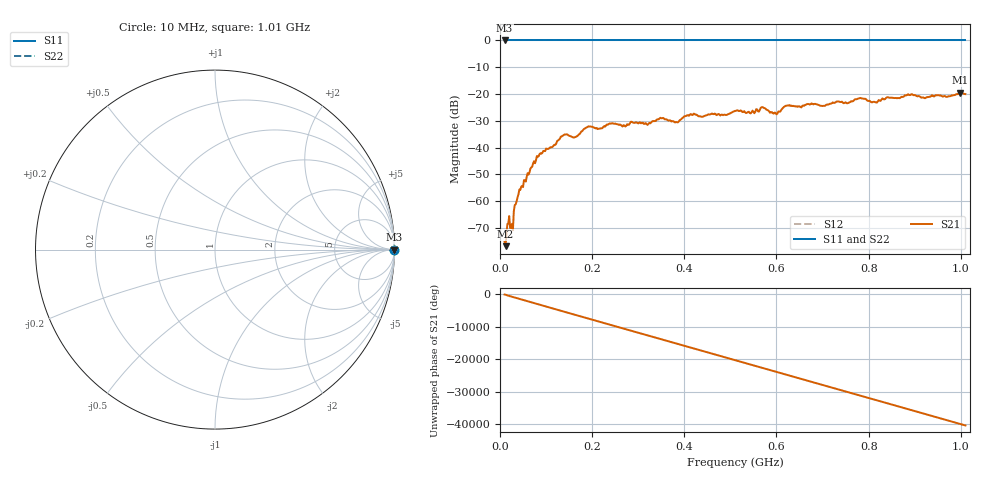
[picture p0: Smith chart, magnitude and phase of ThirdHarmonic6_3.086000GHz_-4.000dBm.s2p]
! 8/17/2025 9:03:41 AM
! C:\ANRITSUVNA\TEMP\TEMP.S2P
! CHANNEL.1
! TR.MEASUREMENT
! RAW.DATA
! RF.CORRECTION.OFF
! AVERAGING.OFF
! IF.BANDWIDTH: 5KHZ
! SWEEPTYPE:  FREQ.SWEEP(Linear)
! Reference Plane Port Info
! PORT:  PORT1  PORT2
! DISTANCE:  0  m  0  m
! TIME:  0  s  0  s
! PHASE.OFFSET:  0  deg.  0  deg.
! LOSS:  0  dB  0  dB
! REF.LOSS:  0  dB  0  dB
! REF.FREQ:  0  Hz  0  Hz
! Power Info
! POWER:  -20  dBm  -20  dBm
! EFF.POWER:  -20  dBm  -20  dBm
! SOURCE.ATTEN:  0  dB  0  dB
! TEST.ATTEN:  0  dB  0  dB
# GHZ S RI R 50.0
! FREQ.GHZ  S11RE  S11IM  S21RE  S21IM  S12RE  S12IM  S22RE  S22IM
!; PortSelection: Port_12
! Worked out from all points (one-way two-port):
!   501 points, 10 MHz to 1.01 GHz, reference 50 ohm
!   highest |S21| = -19.43 dB at 998 MHz (marker M1); lowest = -76.8 dB at 12 MHz (marker M2)
!   lowest |S11| = 0.0 dB at 10 MHz (marker M3)
!   |S11| at or under -10 dB: nowhere
!   |S22| runs from 0.0 to 0.0 dB; largest |S21 - S12| = 1.1
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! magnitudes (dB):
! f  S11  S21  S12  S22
! 10 MHz  0.0  -75.2  0.0  0.0
! 12 MHz  0.0  -76.8  0.0  0.0
! 18 MHz  0.0  -68.4  0.0  0.0
! 26 MHz  0.0  -68.4  0.0  0.0
! 34 MHz  0.0  -61.1  0.0  0.0
! 44 MHz  0.0  -55.8  0.0  0.0
! 84 MHz  0.0  -43.2  0.0  0.0
! 136 MHz  0.0  -35.6  0.0  0.0
! 162 MHz  0.0  -36.1  0.0  0.0
! 178 MHz  0.0  -33.9  0.0  0.0
! 344 MHz  0.0  -29.5  0.0  0.0
! 384 MHz  0.0  -30.5  0.0  0.0
! 416 MHz  0.0  -27.7  0.0  0.0
! 510 MHz  0.0  -26.3  0.0  0.0
! 570 MHz  0.0  -24.9  0.0  0.0
! 598 MHz  0.0  -27.0  0.0  0.0
! 624 MHz  0.0  -24.3  0.0  0.0
! 678 MHz  0.0  -23.6  0.0  0.0
! 814 MHz  0.0  -23.0  0.0  0.0
! 844 MHz  0.0  -21.3  0.0  0.0
! 998 MHz  0.0  -19.4  0.0  0.0
! 1.01 GHz  0.0  -20.0  0.0  0.0
